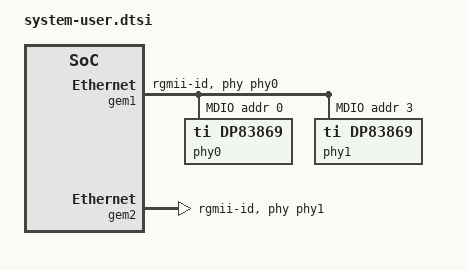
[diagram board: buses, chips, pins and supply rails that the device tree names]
/include/ "system-conf.dtsi"
/{
	AXI_BRAM_1_CTRL: axi_bram_ctrl@a0000000 {
		clock-names = "s_axi_aclk";
		clocks = <&zynqmp_clk 71>;
		compatible = "xlnx,axi-bram-ctrl-4.1";
		reg = <0x0 0xa0000000 0x0 0x2000>;
		xlnx,bram-addr-width = <0xa>;
		xlnx,bram-inst-mode = "EXTERNAL";
		xlnx,ecc = <0x0>;
		xlnx,ecc-onoff-reset-value = <0x0>;
		xlnx,ecc-type = <0x0>;
		xlnx,fault-inject = <0x0>;
		xlnx,memory-depth = <0x400>;
		xlnx,rd-cmd-optimization = <0x0>;
		xlnx,read-latency = <0x1>;
		xlnx,s-axi-ctrl-addr-width = <0x20>;
		xlnx,s-axi-ctrl-data-width = <0x20>;
		xlnx,s-axi-id-width = <0x1>;
		xlnx,s-axi-supports-narrow-burst = <0x0>;
		xlnx,single-port-bram = <0x1>;
	};

	AXI_BRAM_2_CTRL: axi_bram_ctrl@a0002000 {
		clock-names = "s_axi_aclk";
		clocks = <&zynqmp_clk 71>;
		compatible = "xlnx,axi-bram-ctrl-4.1";
		reg = <0x0 0xa0002000 0x0 0x2000>;
		xlnx,bram-addr-width = <0xa>;
		xlnx,bram-inst-mode = "EXTERNAL";
		xlnx,ecc = <0x0>;
		xlnx,ecc-onoff-reset-value = <0x0>;
		xlnx,ecc-type = <0x0>;
		xlnx,fault-inject = <0x0>;
		xlnx,memory-depth = <0x400>;
		xlnx,rd-cmd-optimization = <0x0>;
		xlnx,read-latency = <0x1>;
		xlnx,s-axi-ctrl-addr-width = <0x20>;
		xlnx,s-axi-ctrl-data-width = <0x20>;
		xlnx,s-axi-id-width = <0x1>;
		xlnx,s-axi-supports-narrow-burst = <0x0>;
		xlnx,single-port-bram = <0x1>;
	};

	READ_BUSY: gpio@a0010000 {
		#gpio-cells = <2>;
		clock-names = "s_axi_aclk";
		clocks = <&zynqmp_clk 71>;
		compatible = "xlnx,axi-gpio-2.0", "xlnx,xps-gpio-1.00.a";
		gpio-controller ;
		reg = <0x0 0xa0010000 0x0 0x10000>;
		xlnx,all-inputs = <0x0>;
		xlnx,all-inputs-2 = <0x0>;
		xlnx,all-outputs = <0x1>;
		xlnx,all-outputs-2 = <0x0>;
		xlnx,dout-default = <0x00000000>;
		xlnx,dout-default-2 = <0x00000000>;
		xlnx,gpio-width = <0x1>;
		xlnx,gpio2-width = <0x20>;
		xlnx,interrupt-present = <0x0>;
		xlnx,is-dual = <0x0>;
		xlnx,tri-default = <0xFFFFFFFF>;
		xlnx,tri-default-2 = <0xFFFFFFFF>;
	};

	WHICH_BRAM: gpio@a0020000 {
		#gpio-cells = <2>;
		clock-names = "s_axi_aclk";
		clocks = <&zynqmp_clk 71>;
		compatible = "xlnx,axi-gpio-2.0", "xlnx,xps-gpio-1.00.a";
		gpio-controller ;
		reg = <0x0 0xa0020000 0x0 0x10000>;
		xlnx,all-inputs = <0x1>;
		xlnx,all-inputs-2 = <0x0>;
		xlnx,all-outputs = <0x0>;
		xlnx,all-outputs-2 = <0x0>;
		xlnx,dout-default = <0x00000000>;
		xlnx,dout-default-2 = <0x00000000>;
		xlnx,gpio-width = <0x2>;
		xlnx,gpio2-width = <0x20>;
		xlnx,interrupt-present = <0x0>;
		xlnx,is-dual = <0x0>;
		xlnx,tri-default = <0xFFFFFFFF>;
		xlnx,tri-default-2 = <0xFFFFFFFF>;
	};

	clocking0: clocking0 {
		#clock-cells = <0>;
		assigned-clock-rates = <99999001>;
		assigned-clocks = <&zynqmp_clk 71>;
		clock-output-names = "fabric_clk";
		clocks = <&zynqmp_clk 71>;
		compatible = "xlnx,fclk";
	};

	clocking1: clocking1 {
		#clock-cells = <0>;
		assigned-clock-rates = <49999500>;
		assigned-clocks = <&zynqmp_clk 72>;
		clock-output-names = "fabric_clk";
		clocks = <&zynqmp_clk 72>;
		compatible = "xlnx,fclk";
	};

    TDC_INT: tdc_int@80000000 {
        compatible = "generic-uio", "ui_pdrv";
        interrupt-parent = <&gic>;
        interrupts = <0 89 1>;
    };
    
    chosen {
        bootargs = "earlycon console=ttyPS1,115200 clk_ignore_unused uio_pdrv_genirq.of_id=generic-uio,ui_pdrv xilinx_tsn_ep.st_pcp=4 init_fatal_sh=1 cma=900M ";
        stdout-path = "serial1:115200n8";
    };
	
    aliases {
        ethernet0 = "/axi/ethernet@ff0c0000";
        ethernet1 = "/axi/ethernet@ff0d0000";
    };

};

&AXI_BRAM_1_CTRL {
    compatible = "generic-uio,ui_pdrv";
};

&AXI_BRAM_2_CTRL {
    compatible = "generic-uio,ui_pdrv";
};

&READ_BUSY {
    compatible = "generic-uio,ui_pdrv";
};

&WHICH_BRAM {
    compatible = "generic-uio,ui_pdrv";
};

&TDC_INT {
    compatible = "generic-uio,ui_pdrv";
};

&gem1 {
    phy-handle = <&phy0>;
    phy-mode = "rgmii-id";
    xlnx,has-mdio = <0x1>;
    mdio {
	#address-cells = <1>;
	#size-cells = <0>;
	compatible = "cdns,gem-mdio";
        phy0: phy@0 {
            compatible = "ti,dp83869", "ethernet-phy-id2000.a0f3";
            reg = <0x0>;
	    device_type = "ethernet-phy";
        };
        phy1: phy@3 { /* PHY for GEM2, using GEM1 MDIO */
            compatible = "ti,dp83869", "ethernet-phy-id2000.a0f3";
            reg = <0x3>;
            device_type = "ethernet-phy";
        };
    };
};

&gem2 {
    status = "okay";
    phy-handle = <&phy1>;
    phy-mode = "rgmii-id";
    /* No mdio node needed here, they share the bus: https://xilinx-wiki.atlassian.net/wiki/spaces/A/pages/18841740/Macb+Driver#Common-MDIO-DT */
};
